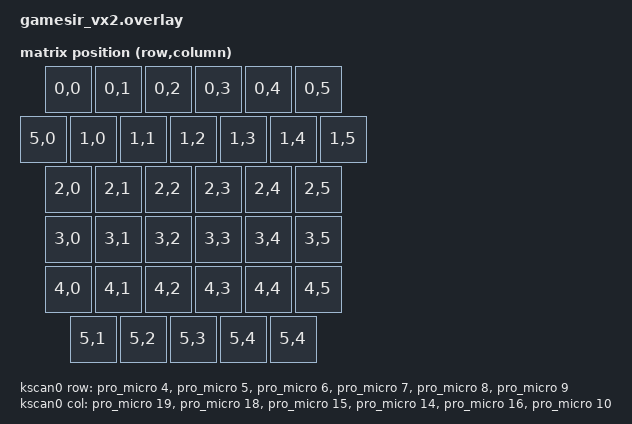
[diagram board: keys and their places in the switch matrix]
/*
 * Copyright (c) 2021 The ZMK Contributors
 *
 * SPDX-License-Identifier: MIT
 */

#include <dt-bindings/zmk/matrix_transform.h>

#include "gamesir_vx2-layouts.dtsi"

/ {
    chosen {
        zmk,kscan = &kscan0;
        zmk,physical-layout = &gamesir_layout;
    };

    position_map0 {
        compatible = "zmk,physical-layout-position-map";
        complete;

        layout0: layout0 {
            physical-layout = <&gamesir_layout>;
            positions
                = < 0  1  2  3  4  5>
                , <30  6  7  8  9 10 11>
                , <12 13 14 15 16 17>
                , <18 19 20 21 22 23>
                , <24 25 26 27 28 29>
                , <31 32 33 34 35>
                ;
        };
    };

    gamesir_transform: keymap_transform_0 {
        compatible = "zmk,matrix-transform";
        columns = <6>;
        rows = <6>;
        // -----------------------------------------------
        // | ESC |     F1  |  F2  |  F3  |  F4  |    F5  | 
        // |  ~  |  1  |  2   |  3   |  4   |  5  |   6  | 
        // |  TAB  |  Q   |  W   |  E   |  R   |    T    | 
        // |  CAPS  |  A   |  S   |  D   |  F    |  G    | 
        // |  LSHIFT |  Z   |  X   |  C   |  V   |   B   |  
        // | LCTRL |  FN  | LALT |      SPACE    |   M   |
        // -----------------------------------------------
        map = <
            RC(0,0)    RC(0,1)  RC(0,2)  RC(0,3)  RC(0,4)   RC(0,5)
            RC(5,0) RC(1,0) RC(1,1) RC(1,2) RC(1,3) RC(1,4) RC(1,5)
            RC(2,0)    RC(2,1)  RC(2,2)  RC(2,3)  RC(2,4)   RC(2,5)
            RC(3,0)     RC(3,1)  RC(3,2)  RC(3,3) RC(3,4)   RC(3,5)
            RC(4,0)     RC(4,1)  RC(4,2)  RC(4,3)  RC(4,4)  RC(4,5)
            RC(5,1) RC(5,2)  RC(5,3)      RC(5,4)           RC(5,4)
            >;
    };

    kscan0: kscan {
        compatible = "zmk,kscan-gpio-matrix";
        wakeup-source;

        diode-direction = "col2row";

        row-gpios
            = <&pro_micro 4 (GPIO_ACTIVE_HIGH | GPIO_PULL_DOWN)>
            , <&pro_micro 5 (GPIO_ACTIVE_HIGH | GPIO_PULL_DOWN)>
            , <&pro_micro 6 (GPIO_ACTIVE_HIGH | GPIO_PULL_DOWN)>
            , <&pro_micro 7 (GPIO_ACTIVE_HIGH | GPIO_PULL_DOWN)>
            , <&pro_micro 8 (GPIO_ACTIVE_HIGH | GPIO_PULL_DOWN)>
            , <&pro_micro 9 (GPIO_ACTIVE_HIGH | GPIO_PULL_DOWN)>
            ;

        col-gpios
            = <&pro_micro 19 GPIO_ACTIVE_HIGH>
            , <&pro_micro 18 GPIO_ACTIVE_HIGH>
            , <&pro_micro 15 GPIO_ACTIVE_HIGH>
            , <&pro_micro 14 GPIO_ACTIVE_HIGH>
            , <&pro_micro 16 GPIO_ACTIVE_HIGH>
            , <&pro_micro 10 GPIO_ACTIVE_HIGH>
            ;
    };
};

&gamesir_layout {
    transform = <&gamesir_transform>;
    kscan = <&kscan0>;
};
